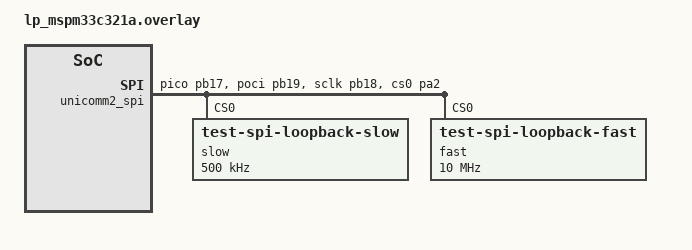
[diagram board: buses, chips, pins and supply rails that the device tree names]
/*
 * Copyright (c) 2025 Texas Instruments
 *
 * SPDX-License-Identifier: Apache-2.0
 */

/* Enable and configure the SPI interface */
&unicomm2_spi {
	status = "okay";
	hw-chip-select = "DL_SPI_CHIP_SELECT_1";
	pinctrl-0 = <&uc2_pico_pb17 &uc2_poci_pb19 &uc2_sclk_pb18 &uc2_cs0_pa2>;
	pinctrl-names = "default";
	/* Define the slow SPI device for loopback testing */
	slow@0 {
		compatible = "test-spi-loopback-slow";
		reg = <0>;
		spi-max-frequency = <DT_FREQ_K(500)>;
	};

	/* Define the fast SPI device for loopback testing */
	fast@0 {
		compatible = "test-spi-loopback-fast";
		reg = <0>;
		spi-max-frequency = <DT_FREQ_M(10)>;
	};
};
